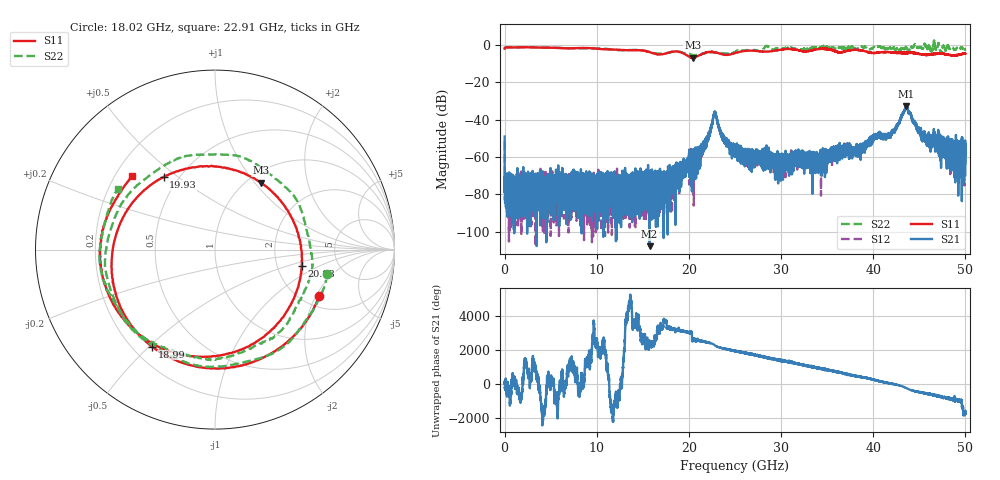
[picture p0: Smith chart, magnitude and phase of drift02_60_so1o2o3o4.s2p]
!Created with skrf (http://scikit-rf.org).
# Hz S RI R 50.0
!freq ReS11 ImS11 ReS21 ImS21 ReS12 ImS12 ReS22 ImS22
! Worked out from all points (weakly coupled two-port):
!   10001 points, 300 kHz to 50 GHz, reference 50 ohm
!   highest |S21| = -32.75 dB at 43.61 GHz (marker M1); lowest = -107.7 dB at 15.73 GHz (marker M2)
!   lowest |S11| = -6.9 dB at 20.43 GHz (marker M3), VSWR 2.64, Z = 57.4 + j53.6 ohm
!   |S11| at or under -10 dB: nowhere
!   |S22| runs from -5.7 to 2.3 dB; largest |S21 - S12| = 0.0057
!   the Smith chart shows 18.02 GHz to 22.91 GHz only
!   S11 on the Smith chart (normalised r, x): 18.02 GHz: 2.44, -2.13; 18.99 GHz: 0.28, -0.51; 19.93 GHz: 0.41, +0.44; 20.93 GHz: 2.77, -0.66; 22.91 GHz: 0.27, +0.36
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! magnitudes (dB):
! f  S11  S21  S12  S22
! 300 kHz  -2.1  -49.1  -51.7  -2.0
! 295.3 MHz  -1.4  -92.0  -78.7  -1.4
! 8.335 GHz  -1.7  -74.1  -80.4  -1.9
! 15.73 GHz  -3.9  -107.7  -70.2  -3.9
! 16.67 GHz  -5.2  -70.7  -79.7  -4.7
! 18.02 GHz  -3.9  -71.4  -78.5  -3.9
! 18.99 GHz  -3.8  -72.8  -66.3  -3.9
! 19.93 GHz  -6.1  -63.1  -64.5  -5.2
! 20.43 GHz  -6.9  -64.5  -63.4  -5.4
! 20.93 GHz  -6.1  -61.1  -58.1  -5.6
! 22.91 GHz  -4.2  -36.9  -37.0  -3.9
! 23.68 GHz  -5.2  -49.0  -49.7  -4.6
! 25 GHz  -4.5  -57.3  -57.5  -3.9
! 29.86 GHz  -2.8  -61.9  -65.9  -2.0
! 33.34 GHz  -3.0  -61.7  -60.7  -1.6
! 38.17 GHz  -2.8  -57.9  -57.2  -2.4
! 40.24 GHz  -4.4  -49.6  -48.9  -0.8
! 41.67 GHz  -4.0  -47.9  -49.1  -1.9
! 43.61 GHz  -4.6  -32.7  -33.4  -1.3
! 45.61 GHz  -5.3  -47.3  -49.2  0.3
! 49.35 GHz  -5.3  -53.4  -64.4  -2.7
! 50 GHz  -4.7  -69.7  -58.6  -2.7
